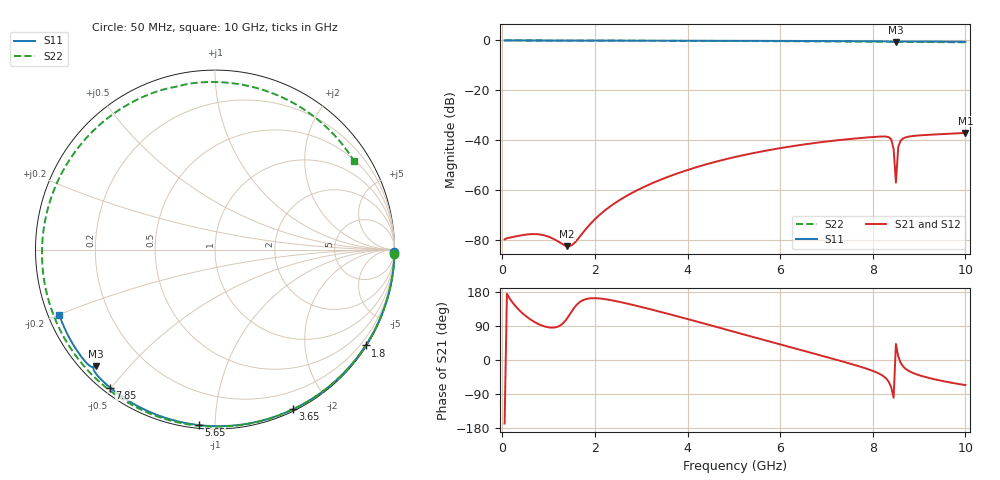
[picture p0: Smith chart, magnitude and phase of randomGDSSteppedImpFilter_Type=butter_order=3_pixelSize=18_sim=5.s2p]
! freq	dB(S11)	phase(S11)	dB(S12)	phase(S12)
!  dB(S21)	phase(S21)	dB(S22)	phase(S22)
!S-par simulation data
#  GHz  S  DB  R 50
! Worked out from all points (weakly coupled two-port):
!   200 points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, 50 MHz to 10 GHz, reference 50 ohm
!   highest |S21| = -37.02 dB at 10 GHz (marker M1); lowest = -82.4 dB at 1.4 GHz (marker M2)
!   lowest |S11| = -0.6 dB at 8.5 GHz (marker M3), VSWR 27.07, Z = 2.15 - j20.3 ohm
!   |S11| at or under -10 dB: nowhere
!   |S22| runs from -0.7 to 0.0 dB; largest |S21 - S12| = 0
!   S11 on the Smith chart (normalised r, x): 50 MHz: open; 1.8 GHz: 0.03, -3.44; 3.65 GHz: 0.02, -1.60; 5.65 GHz: 0.02, -0.91; 7.85 GHz: 0.02, -0.50; 10 GHz: 0.03, -0.20
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0.05  -0.00 -0.9  -79.67 -167.7  -79.67 -167.7  -0.00 -1.5
0.7  -0.01 -12.8  -77.53 100.0  -77.53 100.0  -0.02 -21.1
1.4  -0.03 -25.4  -82.37 109.9  -82.37 109.9  -0.05 -41.8
1.6  -0.04 -28.9  -80.24 144.8  -80.24 144.8  -0.06 -47.7
1.75  -0.04 -31.6  -76.76 158.3  -76.76 158.3  -0.07 -52.0
1.8  -0.04 -32.4  -75.62 160.5  -75.62 160.5  -0.07 -53.4
2.45  -0.06 -43.8  -64.90 155.5  -64.90 155.5  -0.09 -71.9
3.4  -0.08 -59.8  -55.90 127.6  -55.90 127.6  -0.13 -98.1
3.65  -0.09 -63.9  -54.11 119.6  -54.11 119.6  -0.14 -104.9
5.05  -0.13 -86.1  -46.57 73.0  -46.57 73.0  -0.22 -142.9
5.65  -0.16 -95.3  -44.27 52.8  -44.27 52.8  -0.26 -159.7
6.7  -0.22 -110.7  -41.17 17.9  -41.17 17.9  -0.36 168.6
7.3  -0.26 -119.4  -39.84 -2.3  -39.84 -2.3  -0.42 148.4
7.85  -0.30 -127.2  -38.88 -22.3  -38.88 -22.3  -0.49 128.2
8.35  -0.41 -134.9  -38.76 -58.7  -38.76 -58.7  -0.56 108.0
8.4  -0.48 -135.8  -39.65 -72.9  -39.65 -72.9  -0.58 105.9
8.45  -0.61 -136.2  -43.52 -99.7  -43.52 -99.7  -0.60 103.9
8.5  -0.64 -135.7  -56.92 42.4  -56.92 42.4  -0.60 101.9
8.55  -0.52 -135.9  -42.64 9.6  -42.64 9.6  -0.59 99.8
8.65  -0.42 -137.6  -39.29 -16.3  -39.29 -16.3  -0.58 95.4
9.3  -0.44 -147.3  -37.69 -50.0  -37.69 -50.0  -0.66 65.8
10  -0.53 -157.3  -37.02 -66.2  -37.02 -66.2  -0.74 32.5
